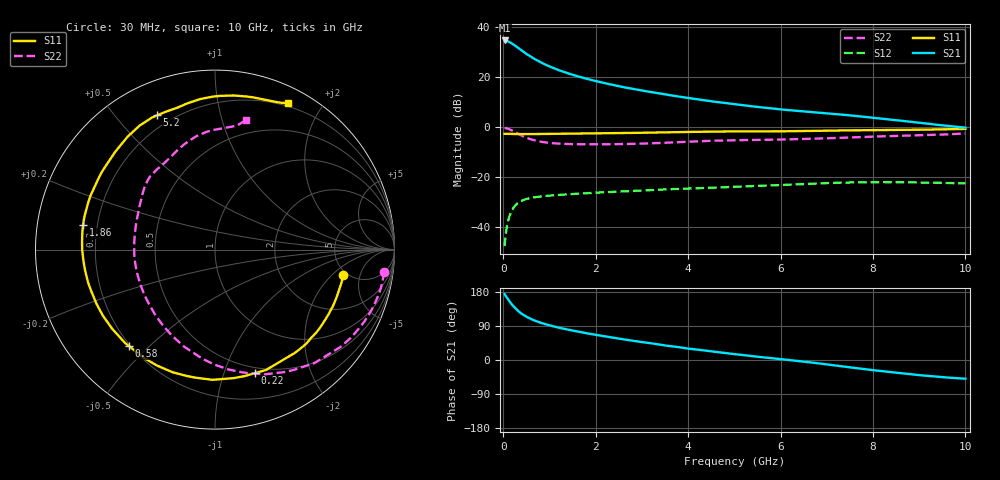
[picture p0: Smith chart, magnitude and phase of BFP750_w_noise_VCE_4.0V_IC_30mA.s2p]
! Infineon Technologies  Discrete & RF Semiconductors
! BFP750
! VCE =  4.0 V,  IC =  30 mA
! Common Emitter S-Parameters:  Jan 2016
# GHz  S  MA  R  50
!  f  S11  S21  S12  S22
! GHz  MAG  ANG  MAG  ANG  MAG  ANG  MAG  ANG
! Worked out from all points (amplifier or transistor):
!   229 points, 30 MHz to 10 GHz, reference 50 ohm
!   highest |S21| = 34.5 dB at 30 MHz (marker M1)
!   |S21| within 3 dB of that: start of sweep to 324.8 MHz
!   unconditionally stable (mu >= 1): 4.533 GHz to end of sweep
!   at 280 MHz: K = 0.16, MSG = 31.5 dB, |S12| = -31.0 dB
!   at 1.78 GHz: K = 0.60, MSG = 22.9 dB, |S12| = -26.4 dB
!   at 10 GHz: K = 1.06, MAG = 9.6 dB, |S12| = -22.5 dB
!   lowest NFmin = 0.84 dB at 450 MHz
!   S11 on the Smith chart (normalised r, x): 30 MHz: 4.67, -2.77; 220 MHz: 0.44, -1.28; 580 MHz: 0.19, -0.44; 1.86 GHz: 0.15, +0.09; 5.2 GHz: 0.15, +0.65; 10 GHz: 0.16, +1.61
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0.03  0.7286 -11.0  52.95 173.9  0.0042 70.2  0.9511 -7.5
0.05  0.7272 -18.1  52.9 169.7  0.0068 71.4  0.949 -12.8
0.08  0.7279 -29.3  51.96 164.7  0.0104 70.2  0.9357 -20.6
0.12  0.727 -42.5  50.01 157.4  0.0151 65.9  0.9094 -30.6
0.165  0.7227 -56.8  47.44 150.1  0.0196 60.7  0.8686 -40.9
0.22  0.7233 -72.1  43.99 142.0  0.0243 54.7  0.8191 -52.7
0.3  0.7256 -91.1  39.02 131.7  0.0295 47.3  0.7491 -68.0
0.4  0.7231 -109.1  33.33 121.8  0.0338 39.8  0.6711 -83.8
0.5  0.7217 -123.0  28.69 114.2  0.0366 34.6  0.6111 -96.8
0.58  0.7201 -131.6  25.7 109.4  0.0381 31.4  0.5737 -105.5
0.8  0.7252 -149.6  19.66 98.5  0.041 25.6  0.5103 -125.3
1  0.7272 -160.9  16.07 91.4  0.0427 22.4  0.4806 -138.5
1.3  0.7347 -173.6  12.58 82.7  0.0448 19.5  0.46 -153.5
1.7  0.7443 173.7  9.689 73.0  0.0471 17.1  0.4516 -168.1
1.86  0.7475 169.5  8.845 69.5  0.0481 16.4  0.4508 -172.9
2.6  0.7567 152.6  6.208 54.5  0.052 13.2  0.456 167.9
3.4  0.774 137.5  4.61 40.4  0.0564 9.8  0.4791 152.4
5.1  0.8145 114.4  2.77 14.3  0.0645 2.5  0.5458 130.6
5.2  0.8143 113.3  2.701 12.9  0.065 2.0  0.5469 129.4
6.8  0.8368 97.6  1.936 -8.5  0.0746 -7.0  0.5862 112.0
8.4  0.871 78.3  1.395 -32.2  0.0794 -20.7  0.6586 93.8
10  0.9128 63.4  0.968 -49.4  0.0749 -31.5  0.7438 76.4
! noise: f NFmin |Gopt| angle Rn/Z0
0.45  0.84  0.12  -165  0.43
0.9  0.86  0.17  -162  0.16
1.5  0.87  0.18  -161  0.13
1.9  0.88  0.22  -155  0.08
2.4  0.91  0.26  -148  0.08
3.5  1.14  0.3  -134  0.08
